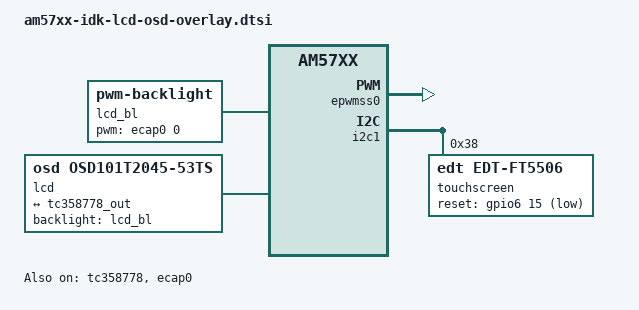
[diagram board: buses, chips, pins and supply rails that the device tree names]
#include <dt-bindings/gpio/gpio.h>

/ {
    fragment@101 {
        target-path = "/";
        __overlay__ {
            aliases {
	        /* overlays don't support path-refs */
		/*
                display0 = &lcd;
                display1 = &hdmi0;
		*/
            };
            lcd_bl: backlight {
                compatible = "pwm-backlight";
                pwms = <&ecap0 0 50000 1>;
                brightness-levels = <0 51 53 56 62 75 101 152 255>;
                default-brightness-level = <8>;
            };
            lcd: display {
		/*
		 * TODO: Not a DPI panel, but a dummy DSI video mode panel.
		 * This needs to be changed later when we can support DSI VM
		 * panels properly.
		 */
                compatible = "osd,osd101t2045-53ts", "panel-dpi";
                backlight = <&lcd_bl>;
                label = "lcd";
                panel-timing {
                    clock-frequency = <154000000>;
                    hactive = <1920>;
                    vactive = <1200>;
                    hfront-porch = <112>;
                    hback-porch = <32>;
                    hsync-len = <16>;
                    vfront-porch = <16>;
                    vback-porch = <16>;
                    vsync-len = <2>;
                    hsync-active = <0>;
                    vsync-active = <0>;
                    de-active = <1>;
                    pixelclk-active = <1>;
                };
                port {
                    lcd_in: endpoint {
                        remote-endpoint = <&tc358778_out>;
                    };
                };
            };
        };
    };
    fragment@102 {
        target = <&tc358778>;
        __overlay__ {
            status = "okay";
        };
    };
    fragment@103 {
        target = <&tc358778_out>;
        __overlay__ {
            remote-endpoint = <&lcd_in>;
            lanes = <0 1 2 3 4 5 6 7 8 9>;
        };
    };
    fragment@104 {
        target = <&epwmss0>;
        __overlay__ {
            status = "okay";
        };
    };
    fragment@105 {
        target = <&ecap0>;
        __overlay__ {
            status = "okay";
        };
    };
    fragment@106 {
        target = <&i2c1>;
        __overlay__ {
            touchscreen: edt-ft5506@38 {
                status = "okay";
                compatible = "edt,edt-ft5506", "edt,edt-ft5x06";
                reg = <0x38>;
                reset-gpios = <&gpio6 15 GPIO_ACTIVE_LOW>;
                touchscreen-size-x = <1920>;
                touchscreen-size-y = <1200>;
            };
        };
    };
};
